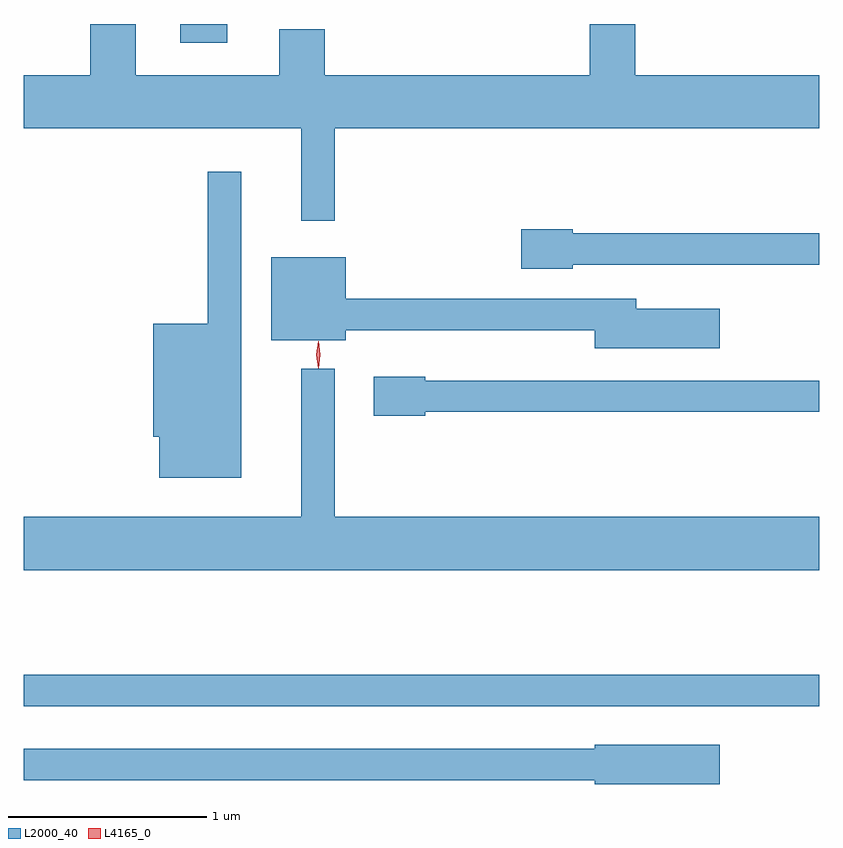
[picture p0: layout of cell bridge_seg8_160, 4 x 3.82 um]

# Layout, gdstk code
import gdstk
lib = gdstk.Library(unit=1e-6, precision=1e-09)
def R(c, l, rs):  # rectangles x0, y0, x1, y1
    for r in rs: c.add(gdstk.rectangle(r[:2], r[2:], *l))
def P(c, l, *ps):  # polygons
    for p in ps: c.add(gdstk.Polygon(p, *l))
L2000_40 = (2000, 40)
L4165_0 = (4165, 0)

bridge_seg8_160 = lib.new_cell('bridge_seg8_160')
R(bridge_seg8_160, L2000_40, [(1440.425,1922.311,1444.425,1922.469), (1441.213,1925.646,1441.449,1925.741)])
P(bridge_seg8_160, L2000_40, [(1441.989,1925.216),(1444.425,1925.216),(1444.425,1925.484),(1443.499,1925.484),(1443.499,1925.741),(1443.271,1925.741),(1443.271,1925.484),(1441.939,1925.484),(1441.939,1925.714),(1441.711,1925.714),(1441.711,1925.484),(1440.989,1925.484),(1440.989,1925.741),(1440.761,1925.741),(1440.761,1925.484),(1440.425,1925.484),(1440.425,1925.216),(1441.821,1925.216),(1441.821,1924.753),(1441.989,1924.753)],
  [(1441.519,1924.998),(1441.351,1924.998),(1441.351,1924.234),(1441.076,1924.234),(1441.076,1923.666),(1441.106,1923.666),(1441.106,1923.461),(1441.519,1923.461)],
  [(1443.184,1924.531),(1444.425,1924.531),(1444.425,1924.689),(1443.184,1924.689),(1443.184,1924.709),(1442.926,1924.709),(1442.926,1924.511),(1443.184,1924.511)],
  [(1443.924,1924.309),(1443.504,1924.309),(1443.504,1924.359),(1442.044,1924.359),(1442.044,1924.569),(1441.671,1924.569),(1441.671,1924.151),(1442.044,1924.151),(1442.044,1924.201),(1443.296,1924.201),(1443.296,1924.111),(1443.924,1924.111)],
  [(1444.425,1923.264),(1441.989,1923.264),(1441.989,1924.008),(1441.821,1924.008),(1441.821,1923.264),(1440.425,1923.264),(1440.425,1922.996),(1444.425,1922.996)],
  [(1442.444,1923.791),(1444.425,1923.791),(1444.425,1923.949),(1442.444,1923.949),(1442.444,1923.969),(1442.186,1923.969),(1442.186,1923.771),(1442.444,1923.771)],
  [(1443.924,1922.119),(1443.296,1922.119),(1443.296,1922.099),(1440.425,1922.099),(1440.425,1921.941),(1443.296,1921.941),(1443.296,1921.921),(1443.924,1921.921)])
P(bridge_seg8_160, L4165_0, [(1441.907,1924.01),(1441.907,1924.01),(1441.897,1924.078),(1441.907,1924.146),(1441.907,1924.146),(1441.908,1924.146),(1441.917,1924.078),(1441.908,1924.01)])

lib.write_gds('bridge_seg8_160.gds')
